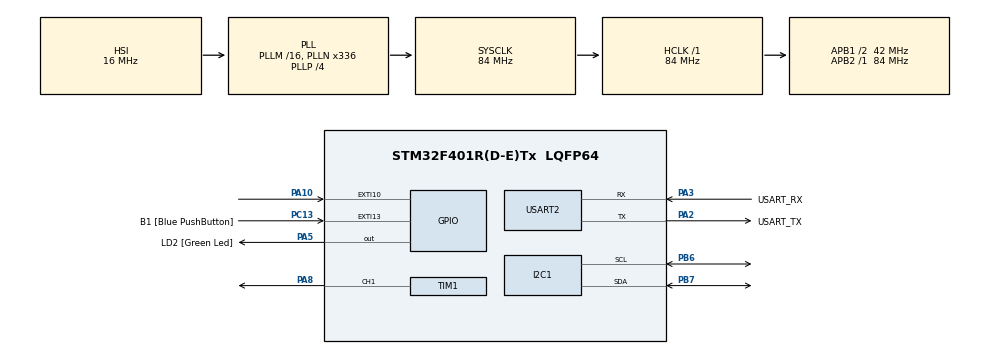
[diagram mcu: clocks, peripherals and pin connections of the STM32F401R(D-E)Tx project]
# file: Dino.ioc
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Mcu.Family=STM32F4
Mcu.Name=STM32F401R(D-E)Tx
Mcu.Package=LQFP64
NVIC.EXTI15_10_IRQn=true\:0\:0\:false\:false\:true\:true\:true\:true
NVIC.PriorityGroup=NVIC_PRIORITYGROUP_4
NVIC.TIM3_IRQn=true\:0\:0\:false\:false\:true\:true\:true\:true
PA10.GPIO_PuPd=GPIO_PULLUP
PA10.Signal=GPXTI10
PA13.GPIO_Label=TMS
PA13.Mode=Trace_Asynchronous_SW
PA13.Signal=SYS_JTMS-SWDIO
PA14.GPIO_Label=TCK
PA14.Mode=Trace_Asynchronous_SW
PA14.Signal=SYS_JTCK-SWCLK
PA2.GPIO_Label=USART_TX
PA2.GPIO_Mode=GPIO_MODE_AF_PP
PA2.GPIO_PuPd=GPIO_NOPULL
PA2.GPIO_Speed=GPIO_SPEED_FREQ_LOW
PA2.Mode=Asynchronous
PA2.Signal=USART2_TX
PA3.GPIO_Label=USART_RX
PA3.GPIO_Mode=GPIO_MODE_AF_PP
PA3.GPIO_PuPd=GPIO_NOPULL
PA3.GPIO_Speed=GPIO_SPEED_FREQ_LOW
PA3.Mode=Asynchronous
PA3.Signal=USART2_RX
PA5.GPIO_Label=LD2 [Green Led]
PA5.GPIO_Mode=GPIO_MODE_OUTPUT_PP
PA5.GPIO_PuPd=GPIO_NOPULL
PA5.GPIO_Speed=GPIO_SPEED_FREQ_LOW
PA5.Signal=GPIO_Output
PA8.Signal=S_TIM1_CH1
PB3.GPIO_Label=SWO
PB3.Mode=Trace_Asynchronous_SW
PB3.Signal=SYS_JTDO-SWO
PB6.Mode=I2C
PB6.Signal=I2C1_SCL
PB7.Mode=I2C
PB7.Signal=I2C1_SDA
PC13-ANTI_TAMP.GPIO_Label=B1 [Blue PushButton]
PC13-ANTI_TAMP.GPIO_ModeDefaultEXTI=GPIO_MODE_IT_RISING
PC13-ANTI_TAMP.GPIO_PuPd=GPIO_PULLDOWN
PC13-ANTI_TAMP.Signal=GPXTI13
PC14-OSC32_IN.Mode=LSE-External-Oscillator
PC14-OSC32_IN.Signal=RCC_OSC32_IN
PC15-OSC32_OUT.Mode=LSE-External-Oscillator
PC15-OSC32_OUT.Signal=RCC_OSC32_OUT
PH0\ -\ OSC_IN.Mode=HSE-External-Clock-Source
PH0\ -\ OSC_IN.Signal=RCC_OSC_IN
PH1\ -\ OSC_OUT.Mode=HSE-External-Clock-Source
PH1\ -\ OSC_OUT.Signal=RCC_OSC_OUT
ProjectManager.HeapSize=0x200
ProjectManager.StackSize=0x400
ProjectManager.TargetToolchain=STM32CubeIDE
RCC.48MHZClocksFreq_Value=48000000
RCC.AHBFreq_Value=84000000
RCC.APB1CLKDivider=RCC_HCLK_DIV2
RCC.APB1Freq_Value=42000000
RCC.APB1TimFreq_Value=84000000
RCC.APB2Freq_Value=84000000
RCC.APB2TimFreq_Value=84000000
RCC.CortexFreq_Value=84000000
RCC.HCLKFreq_Value=84000000
RCC.HSE_VALUE=8000000
RCC.HSI_VALUE=16000000
RCC.PLLN=336
RCC.PLLP=RCC_PLLP_DIV4
RCC.PLLQ=7
RCC.SYSCLKFreq_VALUE=84000000
RCC.SYSCLKSource=RCC_SYSCLKSOURCE_PLLCLK
RCC.VCOOutputFreq_Value=336000000
SH.S_TIM1_CH1.0=TIM1_CH1,PWM Generation1 CH1
TIM1.AutoReloadPreload=TIM_AUTORELOAD_PRELOAD_ENABLE
TIM1.Channel-PWM\ Generation1\ CH1=TIM_CHANNEL_1
TIM1.Period=1000
TIM1.Pulse-PWM\ Generation1\ CH1=500
TIM3.AutoReloadPreload=TIM_AUTORELOAD_PRELOAD_ENABLE
TIM3.Prescaler=640
USART2.VirtualMode=VM_ASYNC
VP_TIM1_VS_ClockSourceINT.Mode=Internal
VP_TIM3_VS_ClockSourceINT.Mode=Internal
board=NUCLEO-F401RE

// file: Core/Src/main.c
/* USER CODE BEGIN Header */
/**
  ******************************************************************************
  * @file           : main.c
  * @brief          : Main program body
  ******************************************************************************
  * @attention
  *
  * Copyright (c) 2025 STMicroelectronics.
  * All rights reserved.
  *
  * This software is licensed under terms that can be found in the LICENSE file
  * in the root directory of this software component.
  * If no LICENSE file comes with this software, it is provided AS-IS.
  *
  ******************************************************************************
  */
/* USER CODE END Header */
#include "main.h"

/* USER CODE BEGIN Includes */
#include "i2c-lcd.h"
#include "dino.h"

#include <stdlib.h>
#include <stdio.h>
#include <time.h>
#include <stdbool.h>
/* USER CODE END Includes */

/* USER CODE BEGIN PD */
#define TIM_FREQ 84000000
/* USER CODE END PD */

I2C_HandleTypeDef hi2c1;

TIM_HandleTypeDef htim1;
TIM_HandleTypeDef htim3;

UART_HandleTypeDef huart2;

void SystemClock_Config(void);
static void MX_GPIO_Init(void);
static void MX_I2C1_Init(void);
static void MX_USART2_UART_Init(void);
static void MX_TIM3_Init(void);
static void MX_TIM1_Init(void);
/* USER CODE BEGIN PFP */
void snd_start (TIM_HandleTypeDef *htim, uint32_t tim_channel);
int presForFrequency (int frequency);
/* USER CODE END PFP */

/* USER CODE BEGIN 0 */
Cactus cactus;
Dino dino;
GameStatus gamestatus;
int flag = 0; // for testing
/* USER CODE END 0 */

int main(void)
{

  /* MCU Configuration--------------------------------------------------------*/

  /* Reset of all peripherals, Initializes the Flash interface and the Systick. */
  HAL_Init();

  /* Configure the system clock */
  SystemClock_Config();

  /* Initialize all configured peripherals */
  MX_GPIO_Init();
  MX_I2C1_Init();
  MX_USART2_UART_Init();
  MX_TIM3_Init();
  MX_TIM1_Init();
  /* USER CODE BEGIN 2 */
  lcd_init();
  lcd_clear_display();
  srand(time(NULL));
  HAL_TIM_Base_Start_IT(&htim3);
  HAL_TIM_PWM_Start(&htim1, TIM_CHANNEL_1);

  // CUSTOM CHARACTERS
  char dino_character[] = {0x07, 0x0D, 0x06, 0x0F, 0x0E, 0x1E, 0x0E, 0x04};
  lcd_send_cmd(0x40);
  for (int i=0; i<8; i++) lcd_send_data(dino_character[i]); // 0

  char cactus_character[] = {0x04, 0x0F, 0x1E, 0x0E, 0x1E, 0x0F, 0x0E, 0x0E};
  lcd_send_cmd(0x40 + 8);
  for (int i=0; i<8; i++) lcd_send_data(cactus_character[i]); // 1

  gamestatus = menu;
  /* USER CODE END 2 */

  /* Infinite loop */
  while (1)
  {

    /* USER CODE BEGIN 3 */
	  if (gamestatus == menu) {
		  clear_screen();
		  lcd_cursor_pos(0, 5);
		  lcd_send_string("DINO GAME!");
		  lcd_cursor_pos(1, 3);
		  lcd_send_string("Press the blue");
		  lcd_cursor_pos(2, 2);
		  lcd_send_string("button to start.");
		  while(HAL_GPIO_ReadPin(GPIOC, GPIO_PIN_13));
		  gamestatus = in_progress;
		  init(&cactus, &dino, &gamestatus);
	  }
	  else if (gamestatus == in_progress) {
		  display(&cactus, &dino);
		  collision(&cactus, &dino, &gamestatus);
	  }
	  else if (gamestatus == over){
		  clear_screen();
		  lcd_cursor_pos(0, 0);
		  lcd_send_string("GAME OVER!");
		  lcd_cursor_pos(1, 0);
		  lcd_send_string("SCORE:");
		  lcd_cursor_pos(2, 0);
		  char str[10];
		  sprintf(str, "%d", dino.score);
		  lcd_send_string(str);
		  snd_start(&htim1, TIM_CHANNEL_1);
		  while(HAL_GPIO_ReadPin(GPIOC, GPIO_PIN_13));
		  gamestatus = menu;
	  }
  }
  /* USER CODE END 3 */
}

void SystemClock_Config(void)
{
  RCC_OscInitTypeDef RCC_OscInitStruct = {0};
  RCC_ClkInitTypeDef RCC_ClkInitStruct = {0};

  /** Configure the main internal regulator output voltage
  */
  __HAL_RCC_PWR_CLK_ENABLE();
  __HAL_PWR_VOLTAGESCALING_CONFIG(PWR_REGULATOR_VOLTAGE_SCALE2);

  /** Initializes the RCC Oscillators according to the specified parameters
  * in the RCC_OscInitTypeDef structure.
  */
  RCC_OscInitStruct.OscillatorType = RCC_OSCILLATORTYPE_HSI;
  RCC_OscInitStruct.HSIState = RCC_HSI_ON;
  RCC_OscInitStruct.HSICalibrationValue = RCC_HSICALIBRATION_DEFAULT;
  RCC_OscInitStruct.PLL.PLLState = RCC_PLL_ON;
  RCC_OscInitStruct.PLL.PLLSource = RCC_PLLSOURCE_HSI;
  RCC_OscInitStruct.PLL.PLLM = 16;
  RCC_OscInitStruct.PLL.PLLN = 336;
  RCC_OscInitStruct.PLL.PLLP = RCC_PLLP_DIV4;
  RCC_OscInitStruct.PLL.PLLQ = 7;
  if (HAL_RCC_OscConfig(&RCC_OscInitStruct) != HAL_OK)
  {
    Error_Handler();
  }

  /** Initializes the CPU, AHB and APB buses clocks
  */
  RCC_ClkInitStruct.ClockType = RCC_CLOCKTYPE_HCLK|RCC_CLOCKTYPE_SYSCLK
                              |RCC_CLOCKTYPE_PCLK1|RCC_CLOCKTYPE_PCLK2;
  RCC_ClkInitStruct.SYSCLKSource = RCC_SYSCLKSOURCE_PLLCLK;
  RCC_ClkInitStruct.AHBCLKDivider = RCC_SYSCLK_DIV1;
  RCC_ClkInitStruct.APB1CLKDivider = RCC_HCLK_DIV2;
  RCC_ClkInitStruct.APB2CLKDivider = RCC_HCLK_DIV1;

  if (HAL_RCC_ClockConfig(&RCC_ClkInitStruct, FLASH_LATENCY_2) != HAL_OK)
  {
    Error_Handler();
  }
}

static void MX_I2C1_Init(void)
{

  hi2c1.Instance = I2C1;
  hi2c1.Init.ClockSpeed = 100000;
  hi2c1.Init.DutyCycle = I2C_DUTYCYCLE_2;
  hi2c1.Init.OwnAddress1 = 0;
  hi2c1.Init.AddressingMode = I2C_ADDRESSINGMODE_7BIT;
  hi2c1.Init.DualAddressMode = I2C_DUALADDRESS_DISABLE;
  hi2c1.Init.OwnAddress2 = 0;
  hi2c1.Init.GeneralCallMode = I2C_GENERALCALL_DISABLE;
  hi2c1.Init.NoStretchMode = I2C_NOSTRETCH_DISABLE;
  if (HAL_I2C_Init(&hi2c1) != HAL_OK)
  {
    Error_Handler();
  }

}

static void MX_TIM1_Init(void)
{

  TIM_ClockConfigTypeDef sClockSourceConfig = {0};
  TIM_MasterConfigTypeDef sMasterConfig = {0};
  TIM_OC_InitTypeDef sConfigOC = {0};
  TIM_BreakDeadTimeConfigTypeDef sBreakDeadTimeConfig = {0};

  htim1.Instance = TIM1;
  htim1.Init.Prescaler = 0;
  htim1.Init.CounterMode = TIM_COUNTERMODE_UP;
  htim1.Init.Period = 1000;
  htim1.Init.ClockDivision = TIM_CLOCKDIVISION_DIV1;
  htim1.Init.RepetitionCounter = 0;
  htim1.Init.AutoReloadPreload = TIM_AUTORELOAD_PRELOAD_ENABLE;
  if (HAL_TIM_Base_Init(&htim1) != HAL_OK)
  {
    Error_Handler();
  }
  sClockSourceConfig.ClockSource = TIM_CLOCKSOURCE_INTERNAL;
  if (HAL_TIM_ConfigClockSource(&htim1, &sClockSourceConfig) != HAL_OK)
  {
    Error_Handler();
  }
  if (HAL_TIM_PWM_Init(&htim1) != HAL_OK)
  {
    Error_Handler();
  }
  sMasterConfig.MasterOutputTrigger = TIM_TRGO_RESET;
  sMasterConfig.MasterSlaveMode = TIM_MASTERSLAVEMODE_DISABLE;
  if (HAL_TIMEx_MasterConfigSynchronization(&htim1, &sMasterConfig) != HAL_OK)
  {
    Error_Handler();
  }
  sConfigOC.OCMode = TIM_OCMODE_PWM1;
  sConfigOC.Pulse = 500;
  sConfigOC.OCPolarity = TIM_OCPOLARITY_HIGH;
  sConfigOC.OCNPolarity = TIM_OCNPOLARITY_HIGH;
  sConfigOC.OCFastMode = TIM_OCFAST_DISABLE;
  sConfigOC.OCIdleState = TIM_OCIDLESTATE_RESET;
  sConfigOC.OCNIdleState = TIM_OCNIDLESTATE_RESET;
  if (HAL_TIM_PWM_ConfigChannel(&htim1, &sConfigOC, TIM_CHANNEL_1) != HAL_OK)
  {
    Error_Handler();
  }
  sBreakDeadTimeConfig.OffStateRunMode = TIM_OSSR_DISABLE;
  sBreakDeadTimeConfig.OffStateIDLEMode = TIM_OSSI_DISABLE;
  sBreakDeadTimeConfig.LockLevel = TIM_LOCKLEVEL_OFF;
  sBreakDeadTimeConfig.DeadTime = 0;
  sBreakDeadTimeConfig.BreakState = TIM_BREAK_DISABLE;
  sBreakDeadTimeConfig.BreakPolarity = TIM_BREAKPOLARITY_HIGH;
  sBreakDeadTimeConfig.AutomaticOutput = TIM_AUTOMATICOUTPUT_DISABLE;
  if (HAL_TIMEx_ConfigBreakDeadTime(&htim1, &sBreakDeadTimeConfig) != HAL_OK)
  {
    Error_Handler();
  }
  HAL_TIM_MspPostInit(&htim1);

}

static void MX_TIM3_Init(void)
{

  TIM_ClockConfigTypeDef sClockSourceConfig = {0};
  TIM_MasterConfigTypeDef sMasterConfig = {0};

  htim3.Instance = TIM3;
  htim3.Init.Prescaler = 640;
  htim3.Init.CounterMode = TIM_COUNTERMODE_UP;
  htim3.Init.Period = 65535;
  htim3.Init.ClockDivision = TIM_CLOCKDIVISION_DIV1;
  htim3.Init.AutoReloadPreload = TIM_AUTORELOAD_PRELOAD_ENABLE;
  if (HAL_TIM_Base_Init(&htim3) != HAL_OK)
  {
    Error_Handler();
  }
  sClockSourceConfig.ClockSource = TIM_CLOCKSOURCE_INTERNAL;
  if (HAL_TIM_ConfigClockSource(&htim3, &sClockSourceConfig) != HAL_OK)
  {
    Error_Handler();
  }
  sMasterConfig.MasterOutputTrigger = TIM_TRGO_RESET;
  sMasterConfig.MasterSlaveMode = TIM_MASTERSLAVEMODE_DISABLE;
  if (HAL_TIMEx_MasterConfigSynchronization(&htim3, &sMasterConfig) != HAL_OK)
  {
    Error_Handler();
  }

}

static void MX_USART2_UART_Init(void)
{

  huart2.Instance = USART2;
  huart2.Init.BaudRate = 115200;
  huart2.Init.WordLength = UART_WORDLENGTH_8B;
  huart2.Init.StopBits = UART_STOPBITS_1;
  huart2.Init.Parity = UART_PARITY_NONE;
  huart2.Init.Mode = UART_MODE_TX_RX;
  huart2.Init.HwFlowCtl = UART_HWCONTROL_NONE;
  huart2.Init.OverSampling = UART_OVERSAMPLING_16;
  if (HAL_UART_Init(&huart2) != HAL_OK)
  {
    Error_Handler();
  }

}

static void MX_GPIO_Init(void)
{
  GPIO_InitTypeDef GPIO_InitStruct = {0};

  /* GPIO Ports Clock Enable */
  __HAL_RCC_GPIOC_CLK_ENABLE();
  __HAL_RCC_GPIOH_CLK_ENABLE();
  __HAL_RCC_GPIOA_CLK_ENABLE();
  __HAL_RCC_GPIOB_CLK_ENABLE();

  /*Configure GPIO pin Output Level */
  HAL_GPIO_WritePin(LD2_GPIO_Port, LD2_Pin, GPIO_PIN_RESET);

  /*Configure GPIO pin : B1_Pin */
  GPIO_InitStruct.Pin = B1_Pin;
  GPIO_InitStruct.Mode = GPIO_MODE_IT_RISING;
  GPIO_InitStruct.Pull = GPIO_PULLDOWN;
  HAL_GPIO_Init(B1_GPIO_Port, &GPIO_InitStruct);

  /*Configure GPIO pin : LD2_Pin */
  GPIO_InitStruct.Pin = LD2_Pin;
  GPIO_InitStruct.Mode = GPIO_MODE_OUTPUT_PP;
  GPIO_InitStruct.Pull = GPIO_NOPULL;
  GPIO_InitStruct.Speed = GPIO_SPEED_FREQ_LOW;
  HAL_GPIO_Init(LD2_GPIO_Port, &GPIO_InitStruct);

  /*Configure GPIO pin : PA10 */
  GPIO_InitStruct.Pin = GPIO_PIN_10;
  GPIO_InitStruct.Mode = GPIO_MODE_IT_RISING;
  GPIO_InitStruct.Pull = GPIO_PULLUP;
  HAL_GPIO_Init(GPIOA, &GPIO_InitStruct);

  /* EXTI interrupt init*/
  HAL_NVIC_SetPriority(EXTI15_10_IRQn, 0, 0);
  HAL_NVIC_EnableIRQ(EXTI15_10_IRQn);

}

/* USER CODE BEGIN 4 */
void HAL_TIM_PeriodElapsedCallback(TIM_HandleTypeDef *htim)
{
	// adds to the score based on the frequency of TIM3
	if (htim->Instance == TIM3) {
		cactus_update(&cactus);
		flag = 1;
		// wait two interrupts in the air for the dino
		if (dino.jump >= 1) {
			dino.jump++;
			if (dino.jump > 3) {
				dino.jump = 0;
			}
		}
		if (dino.jump >= 1 && dino.jump < 3 && cactus.locations[4] == 1) {
			dino.score++;
		}
	}
}

void HAL_GPIO_EXTI_Callback(uint16_t GPIO_Pin) {
	// update the dino when button is pressed
	// this code prevents the player from jumping in the air
	if (GPIO_Pin == GPIO_PIN_10 && dino.jump == 0) {
		dino.jump = 1;
		flag = 1;
	}
}

void snd_start (TIM_HandleTypeDef *htim, uint32_t tim_channel) {
	__HAL_TIM_SET_PRESCALER(htim, presForFrequency(1000));
	HAL_Delay(250);
	__HAL_TIM_SET_PRESCALER(htim, presForFrequency(3000));
	HAL_Delay(250);
	__HAL_TIM_SET_PRESCALER(htim, presForFrequency(6000));
	HAL_Delay(250);
	__HAL_TIM_SET_PRESCALER(htim, presForFrequency(9000));
	HAL_Delay(250);
	__HAL_TIM_SET_PRESCALER(htim, presForFrequency(12000));
	HAL_Delay(250);
	HAL_TIM_PWM_Stop(htim, tim_channel);
}

int presForFrequency (int frequency)
{
	if (frequency == 0) return 0;
	return ((TIM_FREQ/(1000*frequency))-1);  // 1 is added in the register
}

/* USER CODE END 4 */

void Error_Handler(void)
{
  __disable_irq();
  while (1)
  {
  }
}
